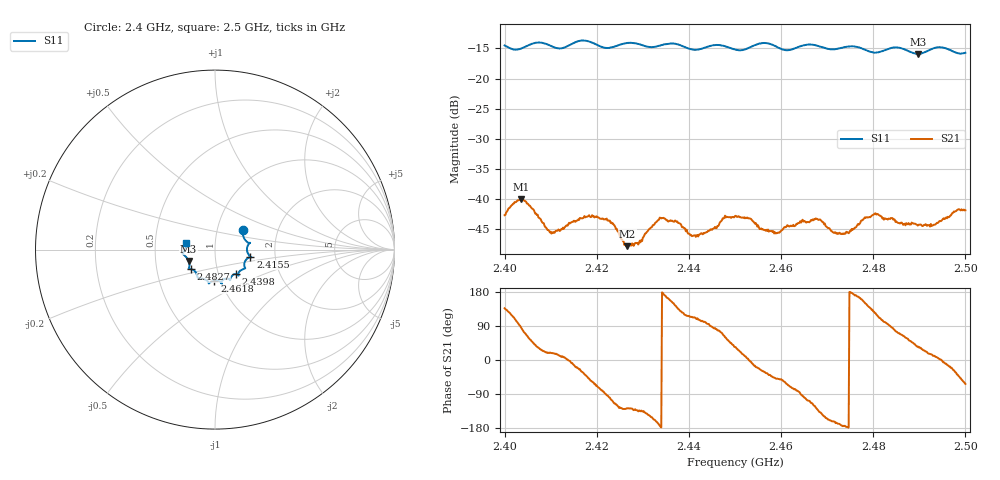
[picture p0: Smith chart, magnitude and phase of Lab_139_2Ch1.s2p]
# Hz S RI R 50
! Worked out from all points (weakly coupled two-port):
!   601 points, 2.4 GHz to 2.5 GHz, reference 50 ohm
!   highest |S21| = -40.06 dB at 2.4035 GHz (marker M1); lowest = -47.9 dB at 2.4267 GHz (marker M2)
!   lowest |S11| = -15.9 dB at 2.4897 GHz (marker M3), VSWR 1.38, Z = 36.9 - j4.82 ohm
!   |S11| at or under -10 dB: start of sweep to end of sweep
!   S12 and S22 are empty: the file has one direction only
!   S11 on the Smith chart (normalised r, x): 2.4 GHz: 1.33, +0.29; 2.4155 GHz: 1.49, -0.12; 2.4398 GHz: 1.21, -0.34; 2.4618 GHz: 0.94, -0.33; 2.4827 GHz: 0.75, -0.17; 2.5 GHz: 0.72, +0.06
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2.4e9  0.1555 0.1068  -0.00532 0.00503  0 0  0 0
2.4035e9  0.1694 0.0522  0.000486 0.00992  0 0  0 0
2.41e9  0.1851 0.0268  0.00505 0.00173  0 0  0 0
2.4155e9  0.1976 -0.0395  0.00616 -0.00216  0 0  0 0
2.416667e9  0.2026 -0.0428  0.00595 -0.00349  0 0  0 0
2.422333e9  0.1659 -0.0684  -0.000416 -0.00659  0 0  0 0
2.426667e9  0.1686 -0.1033  -0.00248 -0.0032  0 0  0 0
2.429333e9  0.1593 -0.1077  -0.0031 -0.00325  0 0  0 0
2.433333e9  0.1296 -0.1344  -0.00653 -0.00142  0 0  0 0
2.4375e9  0.1303 -0.1419  -0.00478 0.00439  0 0  0 0
2.439833e9  0.1152 -0.1359  -0.00224 0.00463  0 0  0 0
2.45e9  0.0649 -0.1619  0.00594 0.00405  0 0  0 0
2.459e9  0.0312 -0.1814  0.00338 -0.00395  0 0  0 0
2.461833e9  -0.00308 -0.1728  0.00208 -0.00552  0 0  0 0
2.466667e9  -0.0347 -0.1883  -0.00264 -0.00606  0 0  0 0
2.473333e9  -0.084 -0.1601  -0.00513 -0.000493  0 0  0 0
2.480167e9  -0.1113 -0.1213  -0.00453 0.00591  0 0  0 0
2.482667e9  -0.1349 -0.1086  -0.00109 0.00678  0 0  0 0
2.483333e9  -0.14 -0.1083  -0.000341 0.00685  0 0  0 0
2.489667e9  -0.1471 -0.0636  0.00487 0.00351  0 0  0 0
2.494333e9  -0.1809 -0.0215  0.00651 0.000342  0 0  0 0
2.5e9  -0.1593 0.0391  0.00362 -0.00718  0 0  0 0
